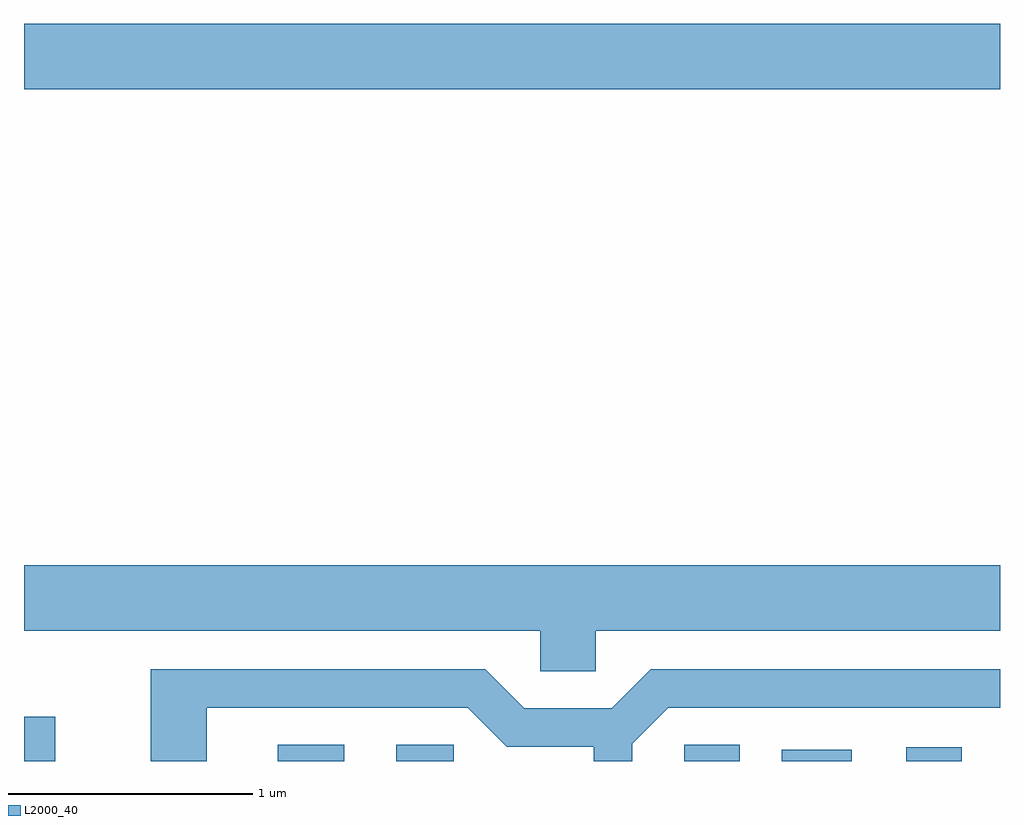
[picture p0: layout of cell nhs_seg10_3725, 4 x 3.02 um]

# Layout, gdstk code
import gdstk
lib = gdstk.Library(unit=1e-6, precision=1e-09)
def R(c, l, rs):  # rectangles x0, y0, x1, y1
    for r in rs: c.add(gdstk.rectangle(r[:2], r[2:], *l))
def P(c, l, *ps):  # polygons
    for p in ps: c.add(gdstk.Polygon(p, *l))
L2000_40 = (2000, 40)

nhs_seg10_3725 = lib.new_cell('nhs_seg10_3725')
R(nhs_seg10_3725, L2000_40, [(295.611,2084.522,295.739,2084.704), (296.651,2084.522,296.923,2084.589), (297.136,2084.522,297.373,2084.589), (298.316,2084.522,298.544,2084.589), (298.716,2084.522,299.003,2084.569), (299.226,2084.522,299.454,2084.579), (295.611,2087.276,299.611,2087.544)])
P(nhs_seg10_3725, L2000_40, [(297.954,2085.056),(299.611,2085.056),(299.611,2085.324),(295.611,2085.324),(295.611,2085.056),(297.726,2085.056),(297.726,2084.891),(297.954,2084.891)],
  [(296.359,2084.741),(297.429,2084.741),(297.589,2084.581),(297.946,2084.581),(297.946,2084.522),(298.104,2084.522),(298.104,2084.594),(298.252,2084.741),(299.611,2084.741),(299.611,2084.899),(298.179,2084.899),(298.019,2084.739),(297.662,2084.739),(297.502,2084.899),(296.131,2084.899),(296.131,2084.522),(296.359,2084.522)])

lib.write_gds('nhs_seg10_3725.gds')
